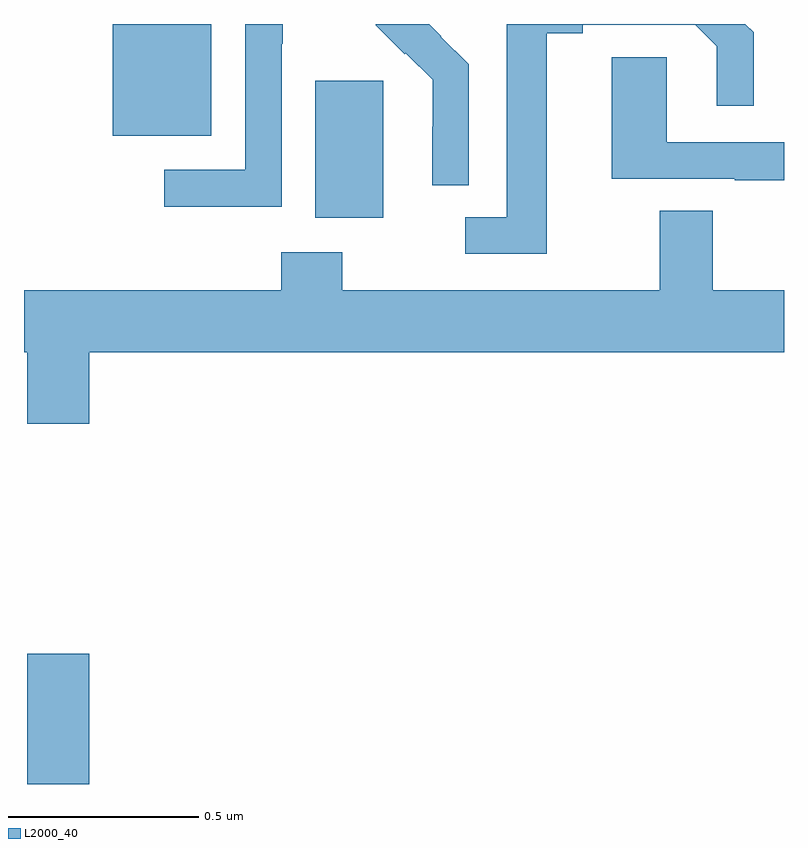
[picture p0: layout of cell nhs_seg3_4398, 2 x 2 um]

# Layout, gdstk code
import gdstk
lib = gdstk.Library(unit=1e-6, precision=1e-09)
def R(c, l, rs):  # rectangles x0, y0, x1, y1
    for r in rs: c.add(gdstk.rectangle(r[:2], r[2:], *l))
def P(c, l, *ps):  # polygons
    for p in ps: c.add(gdstk.Polygon(p, *l))
L2000_40 = (2000, 40)

nhs_seg3_4398 = lib.new_cell('nhs_seg3_4398')
R(nhs_seg3_4398, L2000_40, [(165.008,746.4,165.172,746.743), (165.767,747.89,165.946,748.251), (165.233,748.106,165.493,748.4)])
P(nhs_seg3_4398, L2000_40, [(166.375,748.376),(166.471,748.376),(166.471,748.398),(166.766,748.398),(166.823,748.341),(166.823,748.185),(166.92,748.185),(166.92,748.378),(166.898,748.4),(166.27,748.4),(166.271,748.399),(166.271,747.891),(166.161,747.891),(166.161,747.795),(166.375,747.795)],
  [(165.678,748.348),(165.681,748.348),(165.681,748.4),(165.582,748.4),(165.582,748.017),(165.369,748.017),(165.369,747.919),(165.678,747.919)],
  [(166.17,748.294),(166.097,748.367),(166.098,748.368),(166.066,748.4),(165.925,748.4),(165.925,748.397),(166.002,748.32),(166.005,748.323),(166.076,748.253),(166.076,748.13),(166.074,748.13),(166.074,747.976),(166.17,747.976)],
  [(167,748.089),(166.692,748.089),(166.692,748.313),(166.547,748.313),(166.547,747.993),(166.871,747.993),(166.871,747.989),(167,747.989)],
  [(165.172,747.536),(167,747.536),(167,747.7),(166.813,747.7),(166.813,747.908),(166.673,747.908),(166.673,747.7),(165.837,747.7),(165.837,747.799),(165.677,747.799),(165.677,747.7),(165,747.7),(165,747.536),(165.008,747.536),(165.008,747.348),(165.172,747.348)])

lib.write_gds('nhs_seg3_4398.gds')
